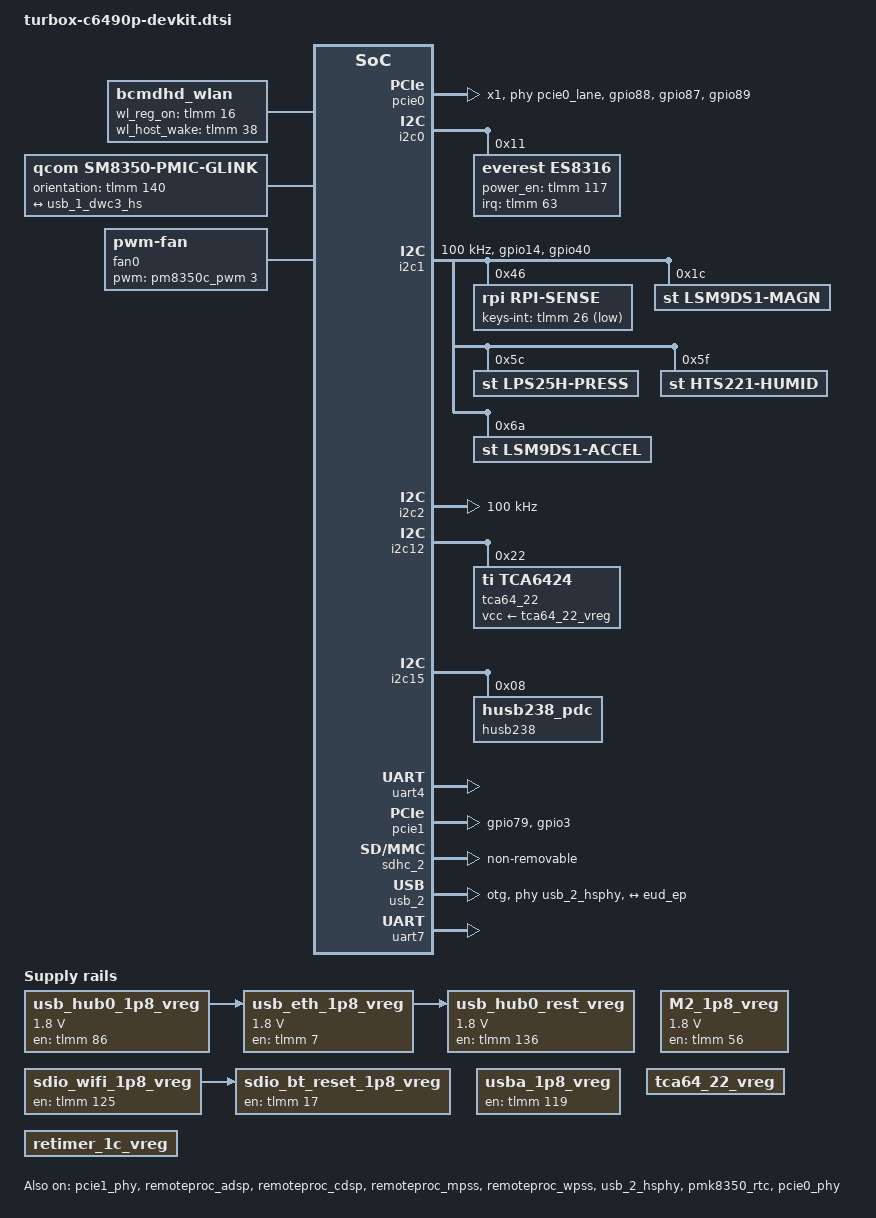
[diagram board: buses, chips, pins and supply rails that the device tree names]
#include "qcm6490-addons-idp.dts"

/ {
	chosen {
		display_bootargs = "";
		stdout-path = "serial0:115200n8";
	};

	aliases {
		serial1 = &uart4;
		serial2 = &uart7;
	};

	usb_hub0_1p8_vreg: usb_hub0_1p8_vreg {
		compatible = "regulator-fixed";
		regulator-name = "usb_hub0_1p8_vreg";
		gpio = <&tlmm 86 0>;
		regulator-min-microvolt = <1800000>;
		regulator-max-microvolt = <1800000>;
		enable-active-high;
		regulator-always-on;
		regulator-enable-ramp-delay = <50000>;
	};

	usb_eth_1p8_vreg: usb_eth_1p8_vreg {
		compatible = "regulator-fixed";
		regulator-name = "usb_eth_1p8_vreg";
		gpio = <&tlmm 7 0>;
		vin-supply = <&usb_hub0_1p8_vreg>;
		regulator-min-microvolt = <1800000>;
		regulator-max-microvolt = <1800000>;
		enable-active-high;
		regulator-enable-ramp-delay = <50000>;
	};

	usb_hub0_rest_vreg: usb_hub0_rest_vreg {
		compatible = "regulator-fixed";
		regulator-name = "usb_hub0_rest_vreg";
		gpio = <&tlmm 136 0>;
		vin-supply = <&usb_eth_1p8_vreg>;
		regulator-min-microvolt = <1800000>;
		regulator-max-microvolt = <1800000>;
		enable-active-high;
		regulator-always-on;
		regulator-enable-ramp-delay = <50000>;
	};

	M2_1p8_vreg: M2_1p8_vreg {
		compatible = "regulator-fixed";
		regulator-name = "M2_1p8_vreg";
		gpio = <&tlmm 56 0>;
		regulator-min-microvolt = <1800000>;
		regulator-max-microvolt = <1800000>;
		enable-active-high;
		regulator-enable-ramp-delay = <50000>;
	};

	sdio_wifi_1p8_vreg: sdio_wifi_1p8_vreg {
		compatible = "regulator-fixed";
		regulator-name = "sdio_wifi_1p8_vreg";
		enable-active-high;
		gpio = <&tlmm 125 GPIO_ACTIVE_HIGH>;
		regulator-enable-ramp-delay = <50000>;
	};

	sdio_bt_reset_1p8_vreg: sdio_bt_reset_1p8_vreg {
		pinctrl-0 = <&wifi_reset_active>;
		pinctrl-names = "default";
		compatible = "regulator-fixed";
		regulator-name = "sdio_bt_reset_1p8_vreg";
		enable-active-high;
		gpio = <&tlmm 17 GPIO_ACTIVE_HIGH>;
		vin-supply = <&sdio_wifi_1p8_vreg>;
	};

	usba_1p8_vreg: usba_1p8_vreg {
		compatible = "regulator-fixed";
		regulator-name = "usba_1p8_vreg";
		enable-active-high;
		gpio = <&tlmm 119 GPIO_ACTIVE_HIGH>;
		regulator-enable-ramp-delay = <10000>;
	};

	bcmdhd_wlan: bcmdhd_wlan {
		compatible = "linux,bcmdhd_wlan";
		gpio_wl_reg_on = <&tlmm 16 GPIO_ACTIVE_HIGH>;
		gpio_wl_host_wake = <&tlmm 38 GPIO_ACTIVE_HIGH>;
	};

	pmic-glink {
		compatible = "qcom,sm8350-pmic-glink", "qcom,pmic-glink";
		#address-cells = <1>;
		#size-cells = <0>;
		orientation-gpios = <&tlmm 140 GPIO_ACTIVE_HIGH>;
		qcom,thermal-mitigation = <3000000 1500000 1000000 500000>;

		connector@0 {
			compatible = "usb-c-connector";
			reg = <0>;
			power-role = "dual";
			data-role = "dual";

			ports {
				#address-cells = <1>;
				#size-cells = <0>;

				port@0 {
					reg = <0>;
					pmic_glink_hs_in: endpoint {
						remote-endpoint = <&usb_1_dwc3_hs>;
					};
				};

				/delete-node/ port@2;
			};
		};
	};

	soc: soc@0 {
		gcc: clock-controller@100000 {
			clocks = <&rpmhcc RPMH_CXO_CLK>,
				 <&rpmhcc RPMH_CXO_CLK_A>, <&sleep_clk>,
				 <0>, <&pcie0_lane>, <&pcie1_lane>,
				 <0>, <0>, <0>,
				 <&usb_1_ssphy>;
			clock-names = "bi_tcxo", "bi_tcxo_ao", "sleep_clk",
				      "pcie_0_pipe_clk", "pcie_1_pipe_clk",
				      "ufs_phy_rx_symbol_0_clk", "ufs_phy_rx_symbol_1_clk",
				      "ufs_phy_tx_symbol_0_clk",
				      "usb3_phy_wrapper_gcc_usb30_pipe_clk";
		};

		pcie0: pci@1c00000 {
			compatible = "qcom,pcie-sc7280";
			reg = <0 0x01c00000 0 0x3000>,
				  <0 0x60000000 0 0xf1d>,
				  <0 0x60000f20 0 0xa8>,
				  <0 0x60001000 0 0x1000>,
				  <0 0x60100000 0 0x100000>;
			reg-names = "parf", "dbi", "elbi", "atu", "config";
			device_type = "pci";
			cell-index = <0>;
			linux,pci-domain = <0>;
			bus-range = <0x80 0xff>;
			num-lanes = <1>;
			#address-cells = <3>;
			#size-cells = <2>;
			ranges = <0x01000000 0x0 0x00000000 0x0 0x60200000 0x0 0x100000>,
				   <0x02000000 0x0 0x60300000 0x0 0x60300000 0x0 0x3d00000>;
			interrupts = <GIC_SPI 141 IRQ_TYPE_LEVEL_HIGH>;
			interrupt-names = "msi";
			#interrupt-cells = <1>;
			interrupt-map-mask = <0 0 0 0x7>;
			interrupt-map = <0 0 0 1 &intc 0 0 0 149 IRQ_TYPE_LEVEL_HIGH>,
				<0 0 0 2 &intc 0 0 0 150 IRQ_TYPE_LEVEL_HIGH>,
				<0 0 0 3 &intc 0 0 0 151 IRQ_TYPE_LEVEL_HIGH>,
				<0 0 0 4 &intc 0 0 0 152 IRQ_TYPE_LEVEL_HIGH>;
			clocks = <&gcc GCC_PCIE_0_PIPE_CLK>,
				   <&gcc GCC_PCIE_0_PIPE_CLK_SRC>,
				   <&pcie0_lane>,
				   <&rpmhcc RPMH_CXO_CLK>,
				   <&gcc GCC_PCIE_0_AUX_CLK>,
				   <&gcc GCC_PCIE_0_CFG_AHB_CLK>,
				   <&gcc GCC_PCIE_0_MSTR_AXI_CLK>,
				   <&gcc GCC_PCIE_0_SLV_AXI_CLK>,
				   <&gcc GCC_PCIE_0_SLV_Q2A_AXI_CLK>,
				   <&gcc GCC_AGGRE_NOC_PCIE_TBU_CLK>,
				   <&gcc GCC_DDRSS_PCIE_SF_CLK>,
				   <&gcc GCC_AGGRE_NOC_PCIE_CENTER_SF_AXI_CLK>,
				   <&gcc GCC_AGGRE_NOC_PCIE_0_AXI_CLK>;
			clock-names = "pipe",
				"pipe_mux",
				"phy_pipe",
				"ref",
				"aux",
				"cfg",
				"bus_master",
				"bus_slave",
				"slave_q2a",
				"tbu",
				"ddrss_sf_tbu",
				"aggre0",
				"aggre1";
			assigned-clocks = <&gcc GCC_PCIE_0_AUX_CLK>;
			assigned-clock-rates = <19200000>;
			resets = <&gcc GCC_PCIE_0_BCR>;
			reset-names = "pci";
			power-domains = <&gcc GCC_PCIE_0_GDSC>;
			phys = <&pcie0_lane>;
			phy-names = "pciephy";
			dma-coherent;
			iommu-map = <0x8000 &apps_smmu 0x1c00 0x1>,
				<0x8100 &apps_smmu 0x1c01 0x1>;
			status = "disabled";
		};

		pcie0_phy: phy@1c06000 {
			compatible = "qcom,sm8250-qmp-gen3x1-pcie-phy";
			reg = <0 0x01c06000 0 0x1c0>;
			#address-cells = <2>;
			#size-cells = <2>;
			ranges;
			clocks = <&gcc GCC_PCIE_0_AUX_CLK>,
				   <&gcc GCC_PCIE_0_CFG_AHB_CLK>,
				   <&gcc GCC_PCIE_CLKREF_EN>,
				   <&gcc GCC_PCIE0_PHY_RCHNG_CLK>;
			clock-names = "aux", "cfg_ahb", "ref", "refgen";
			resets = <&gcc GCC_PCIE_0_PHY_BCR>;
			reset-names = "phy";
			assigned-clocks = <&gcc GCC_PCIE0_PHY_RCHNG_CLK>;
			assigned-clock-rates = <100000000>;
			status = "disabled";
			pcie0_lane: phy@1c0e200 {
				reg = <0 0x01c06200 0 0x200>, /* tx */
					  <0 0x01c06400 0 0x200>, /* rx */
					  <0 0x01c06800 0 0x200>, /* pcs */
					  <0 0x01c06c00 0 0x200>; /* pcs_pcie */
				clocks = <&gcc GCC_PCIE_0_PIPE_CLK>;
				clock-names = "pipe0";
				#phy-cells = <0>;
				#clock-cells = <0>;
				clock-output-names = "pcie_0_pipe_clk";
			};
		};
	};

	fan0: pwm-fan {
		compatible = "pwm-fan";
		pwms = <&pm8350c_pwm 3 1000000>;
		pinctrl-names = "default";
		pinctrl-0 = <&fan_pwm_out_default>;
		#cooling-cells = <2>;
		cooling-min-state = <0>;
		cooling-max-state = <2>;
		cooling-levels = <0 100 255>;
	};
};

&tlmm {
	/delete-property/ gpio-reserved-ranges;

	pcie0_reset_n: pcie0-reset-n-state {
		pins = "gpio87";
		function = "gpio";
		drive-strength = <16>;
		output-low;
		bias-disable;
	};

	pcie0_wake_n: pcie0-wake-n-state {
		pins = "gpio89";
		function = "gpio";
		drive-strength = <2>;
		bias-pull-up;
	};

	pcie0_clkreq_n: pcie0-clkreq-n-state {
		pins = "gpio88";
		function = "pcie0_clkreqn";
		bias-pull-up;
		drive-strength = <2>;
	};

	pcie1_wake_n: pcie1-wake-n-state {
		pins = "gpio3";
		function = "gpio";
		drive-strength = <2>;
		bias-pull-up;
	};

	pcie1_clkreq_n: pcie1-clkreq-n-state {
		pins = "gpio79";
		function = "pcie1_clkreqn";
		drive-strength = <2>;
		bias-pull-up;
	};

	pcie1_reset_n: pcie1-reset-n-state {
		pins = "gpio2";
		function = "gpio";
		drive-strength = <16>;
		output-high;
		bias-disable;
	};

	mi2s2_data0: mi2s2-data0-state {
		pins = "gpio102";
		function = "mi2s2_data0";
	};

	mi2s2_data1: mi2s2-data1-state {
		pins = "gpio104";
		function = "mi2s2_data1";
	};

	mi2s2_sclk: mi2s2-sclk-state {
		pins = "gpio101";
		function = "mi2s2_sck";
	};

	mi2s2_ws: mi2s2-ws-state {
		pins = "gpio103";
		function = "mi2s2_ws";
	};

	mi2s2_data0_sleep: mi2s2-data0-sleep {
		pins = "gpio102";
		function = "gpio";
		drive-strength = <2>;
		bias-pull-down;
		input-enable;
	};

	mi2s2_data1_sleep: mi2s2-data1-sleep {
		pins = "gpio104";
		function = "gpio";
		drive-strength = <2>;
		bias-pull-down;
		input-enable;
	};

	mi2s2_sclk_sleep: mi2s2-sclk-sleep {
		pins = "gpio101";
		function = "gpio";
		drive-strength = <2>;
		bias-pull-down;
		input-enable;
	};

	mi2s2_ws_sleep: mi2s2-ws-sleep {
		pins = "gpio103";
		function = "gpio";
		drive-strength = <2>;
		bias-pull-down;
		input-enable;
	};

	mi2s1_data0_sleep: mi2s1-data0-sleep {
		pins = "gpio107";
		function = "gpio";
		drive-strength = <2>;
		bias-pull-down;
		input-enable;
	};

	mi2s1_data1_sleep: mi2s1-data1-sleep {
		pins = "gpio105";
		function = "gpio";
		drive-strength = <2>;
		bias-pull-down;
		input-enable;
	};

	mi2s1_sclk_sleep: mi2s1-sclk-sleep {
		pins = "gpio106";
		function = "gpio";
		drive-strength = <2>;
		bias-pull-down;
		input-enable;
	};

	mi2s1_ws_sleep: mi2s1-ws-sleep {
		pins = "gpio108";
		function = "gpio";
		drive-strength = <2>;
		bias-pull-down;
		input-enable;
	};

	mi2s1_data0: mi2s1-data0-state {
		pins = "gpio107";
		function = "mi2s1_data0";
	};

	mi2s1_data1: mi2s1-data1-state {
		pins = "gpio105";
		function = "mi2s1_data1";
	};

	mi2s1_sclk: mi2s1-sclk-state {
		pins = "gpio106";
		function = "mi2s1_sck";
	};

	mi2s1_ws: mi2s1-ws-state {
		pins = "gpio108";
		function = "mi2s1_ws";
	};

	wifi_reset_active: wifi_reset_active {
		pins = "gpio16";
		function = "gpio";
		drive-strength = <2>;
		output-high;
		bias-disable;
	};

	io_level_selection_3v3: io_level_selection_3v3 {
		pins = "gpio14";
		function = "gpio";
		drive-strength = <2>;
		output-high;
		bias-disable;
	};

	io_level_selection_5v0: io_level_selection_5v0 {
		pins = "gpio40";
		function = "gpio";
		drive-strength = <2>;
		output-high;
		bias-disable;
	};
};

&lpass_dmic01_clk {
	status = "disabled";
};

&lpass_dmic01_data {
	status = "disabled";
};

&lpass_dmic23_clk {
	status = "disabled";
};

&lpass_dmic23_data {
	status = "disabled";
};

&lpass_tlmm {
	/delete-node/ dmic45-data-state;
	/delete-node/ dmic45-clk-state;

	lpass_ext_mas_clk1_a: ext-master-clk1-a-state {
		pins = "gpio13";
		function = "ext_mas_clk1_a";
	};

	lpass_ext_mas_clk1_a_sleep: ext-master-clk1-a-sleep {
		pins = "gpio13";
		function = "ext_mas_clk1_a";
		drive-strength = <2>;
		bias-pull-down;
		input-enable;
	};

	lpass_qua_mi2s_sclk: qua-mi2s-sclk-state {
		pins = "gpio0";
		function = "qua_mi2s_sclk";
	};

	lpass_qua_mi2s_sclk_sleep: qua-mi2s-sclk-sleep {
		pins = "gpio0";
		function = "qua_mi2s_sclk";
		drive-strength = <2>;
		bias-pull-down;
		input-enable;
	};

	lpass_qua_mi2s_ws: qua-mi2s-ws-state {
		pins = "gpio1";
		function = "qua_mi2s_ws";
	};

	lpass_qua_mi2s_ws_sleep: qua-mi2s-ws-sleep {
		pins = "gpio1";
		function = "qua_mi2s_ws";
		drive-strength = <2>;
		bias-pull-down;
		input-enable;
	};

	lpass_qua_mi2s_data0: qua-mi2s-data0-state {
		pins = "gpio2";
		function = "qua_mi2s_data";
	};

	lpass_qua_mi2s_data0_sleep: qua-mi2s-data0-sleep {
		pins = "gpio2";
		function = "qua_mi2s_data";
		drive-strength = <2>;
		bias-pull-down;
		input-enable;
	};

	lpass_qua_mi2s_data1: qua-mi2s-data1-state {
		pins = "gpio3";
		function = "qua_mi2s_data";
	};

	lpass_qua_mi2s_data1_sleep: qua-mi2s-data1-sleep {
		pins = "gpio3";
		function = "qua_mi2s_data";
		drive-strength = <2>;
		bias-pull-down;
		input-enable;
	};

	lpass_qua_mi2s_data2: qua-mi2s-data2-state {
		pins = "gpio4";
		function = "qua_mi2s_data";
	};

	lpass_qua_mi2s_data2_sleep: qua-mi2s-data2-sleep {
		pins = "gpio4";
		function = "qua_mi2s_data";
		drive-strength = <2>;
		bias-pull-down;
		input-enable;
	};

	lpass_qua_mi2s_data3: qua-mi2s-data3-state {
		pins = "gpio5";
		function = "qua_mi2s_data";
	};

	lpass_qua_mi2s_data3_sleep: qua-mi2s-data3-sleep {
		pins = "gpio5";
		function = "qua_mi2s_data";
		drive-strength = <2>;
		bias-pull-down;
		input-enable;
	};

	lpass_lpi_i2s1_clk: lpi-i2s1-clk-state {
		pins = "gpio6";
		function = "i2s1_clk";
	};

	lpass_lpi_i2s1_ws: lpi-i2s1-ws-state {
		pins = "gpio7";
		function = "i2s1_ws";
	};

	lpass_lpi_i2s1_data0: lpi-i2s1-data0-state {
		pins = "gpio8";
		function = "i2s1_data";
	};

	lpass_lpi_i2s1_data1: lpi-i2s1-data1-state {
		pins = "gpio9";
		function = "i2s1_data";
	};

	lpass_lpi_i2s1_clk_sleep: lpi-i2s1-clk-sleep {
		pins = "gpio6";
		function = "i2s1_clk";
		drive-strength = <2>;
		bias-pull-down;
		input-enable;
	};

	lpass_lpi_i2s1_ws_sleep: lpi-i2s1-ws-sleep {
		pins = "gpio7";
		function = "i2s1_ws";
		drive-strength = <2>;
		bias-pull-down;
		input-enable;
	};

	lpass_lpi_i2s1_data0_sleep: lpi-i2s1-data0-sleep {
		pins = "gpio8";
		function = "i2s1_data";
		drive-strength = <2>;
		bias-pull-down;
		input-enable;
	};

	lpass_lpi_i2s1_data1_sleep: lpi-i2s1-data1-sleep {
		pins = "gpio9";
		function = "i2s1_data";
		drive-strength = <2>;
		bias-pull-down;
		input-enable;
	};
};

&soc {
	tca64_22_vreg: tca64_22_regulator {
		compatible = "regulator-fixed";
		regulator-name = "tca64_22_vreg";
		startup-delay-us = <1000>;
		enable-active-high;
	};

	retimer_1c_vreg: retimer_1c_regulator {
		compatible = "regulator-fixed";
		regulator-name = "retimer_1c_vreg";
		startup-delay-us = <1000>;
		enable-active-high;
	};
};

&gcc {
	protected-clocks = <GCC_QSPI_CNOC_PERIPH_AHB_CLK>, <GCC_QSPI_CORE_CLK>,
			<GCC_QSPI_CORE_CLK_SRC>, <GCC_CFG_NOC_LPASS_CLK>,
			<GCC_MSS_GPLL0_MAIN_DIV_CLK_SRC>, <GCC_MSS_CFG_AHB_CLK>,
			<GCC_MSS_OFFLINE_AXI_CLK>, <GCC_MSS_SNOC_AXI_CLK>,
			<GCC_MSS_Q6_MEMNOC_AXI_CLK>, <GCC_MSS_Q6SS_BOOT_CLK_SRC>,
			<GCC_SEC_CTRL_CLK_SRC>, <GCC_WPSS_AHB_CLK>,
			<GCC_WPSS_AHB_BDG_MST_CLK>, <GCC_WPSS_RSCP_CLK>;
};

&i2c0 {
	status = "ok";
	es8316: es8316@11 {
		compatible = "everest,es8316";
		reg = <0x11>;
		clocks = <&lpass_aon LPASS_AON_CC_TX_MCLK_CLK>;
        clock-names = "mclk";
		#sound-dai-cells = <0>;
		power_en-gpio = <&tlmm 117 0>;
		irq-gpio = <&tlmm 63 0>;
		status = "ok";
    };
};

&i2c1 {
	clock-frequency = <100000>;
	status = "okay";
	pinctrl-names = "default";
	pinctrl-0 = <&qup_i2c1_data_clk>, <&io_level_selection_3v3>, <&io_level_selection_5v0>;

	/delete-node/ typec-mux@42;

	rpi-sense@46 {
		compatible = "rpi,rpi-sense";
		reg = <0x46>;
		keys-int-gpios = <&tlmm 26 1>;
		status = "okay";
	};

	lsm9ds1-magn@1c {
		compatible = "st,lsm9ds1-magn";
		reg = <0x1c>;
		status = "okay";
	};

	lps25h-press@5c {
		compatible = "st,lps25h-press";
		reg = <0x5c>;
		status = "okay";
	};

	hts221-humid@5f {
		compatible = "st,hts221-humid", "st,hts221";
		reg = <0x5f>;
		status = "okay";
	};

	lsm9ds1-accel@6a {
		compatible = "st,lsm9ds1-accel";
		reg = <0x6a>;
		status = "okay";
	};


	typec-mux@42 {
		status = "disabled";
	};

	pm8008i@8 {
		status = "disabled";
	};

	pm8008i@9 {
		status = "disabled";
	};

	pm8008j@c {
		status = "disabled";
	};

	pm8008j@d {
		status = "disabled";
	};
};

&i2c2 {
	clock-frequency = <100000>;
	status = "okay";
};

&i2c12 {
	status = "ok";
	tca64_22: tca6424@22 {
		compatible = "ti,tca6424";
		reg = <0x22>;
		vcc-supply = <&tca64_22_vreg>;
		gpio-controller;
		#gpio-cells = <2>;
	};
};

&i2c15 {
	status = "ok";
	husb238@8 {
		status = "ok";
		compatible = "husb238_pdc";
		reg = <0x08>;
	};
};

&uart4 {
	status = "okay";
	pinctrl-0 = <&qup_uart4_tx>, <&qup_uart4_rx>;
};

&uart14 {
	status = "disabled";
};

&apps_rsc {
	regulators-0 {
		vreg_l2b_3p072: ldo2 {
			regulator-min-microvolt = <3100000>;
			regulator-max-microvolt = <3544000>;
			regulator-initial-mode = <RPMH_REGULATOR_MODE_HPM>;
		};

		vreg_l6b_1p2: ldo6 {
			regulator-min-microvolt = <1140000>;
			regulator-max-microvolt = <1260000>;
			regulator-initial-mode = <RPMH_REGULATOR_MODE_HPM>;
		};
	};

	regulators-1 {
		vreg_l1c_1p8: ldo1 {
			regulator-min-microvolt = <1800000>;
			regulator-max-microvolt = <1980000>;
			regulator-initial-mode = <RPMH_REGULATOR_MODE_HPM>;
		};

		vreg_l10c_0p88:ldo10 {
			regulator-min-microvolt = <880000>;
			regulator-max-microvolt = <1050000>;
			regulator-initial-mode = <RPMH_REGULATOR_MODE_HPM>;
		};

		vreg_l9c_2p96: ldo9 {
			regulator-min-microvolt = <2700000>;
			regulator-max-microvolt = <3544000>;
			regulator-initial-mode = <RPMH_REGULATOR_MODE_HPM>;
		};

		vreg_l6c_2p96: ldo6 {
			regulator-min-microvolt = <1800000>;
			regulator-max-microvolt = <1800000>;
			regulator-initial-mode = <RPMH_REGULATOR_MODE_HPM>;
			regulator-boot-on;
			regulator-enable-ramp-delay = <10000>;
		};
	};
};

&bluetooth {
	status = "disabled";
};

&pcie0_phy {
	status = "okay";
	qcom,refclk-always-on;
	vdda-phy-supply = <&vreg_l10c_0p88>;
	vdda-pll-supply = <&vreg_l6b_1p2>;
};

&pcie0 {
	status = "okay";
	perst-gpios = <&tlmm 87 GPIO_ACTIVE_LOW>;
	vdda-supply = <&usb_hub0_rest_vreg>;
	pinctrl-names = "default";
	pinctrl-0 = <&pcie0_clkreq_n>, <&pcie0_reset_n>, <&pcie0_wake_n>;
	pcieport0: pcie@0 {
		pcie0_bus1_dev0_fn0: pcie0_bus1_dev0_fn0 {
			reg = <0 0 0 0 0>;
		};
	};
};

&pcie1 {
	status = "okay";
	perst-gpios = <&tlmm 2 GPIO_ACTIVE_LOW>;
	vdda-supply = <&M2_1p8_vreg>;
	pinctrl-names = "default";
	pinctrl-0 = <&pcie1_clkreq_n>, <&pcie1_wake_n>;
	pcieport1: pcie@1 {
		device_type = "pci";
		reg = <0x0 0x0 0x0 0x0 0x0>;
		#address-cells = <5>;
		#size-cells = <0>;
		pcie1_bus1_dev0_fn0: pcie1_bus1_dev0_fn0 {
			reg = <0 0 0 0 0>;
		};
	};
};

&pcie1_phy {
	status = "okay";
	vdda-phy-supply = <&vreg_l10c_0p88>;
	vdda-pll-supply = <&vreg_l6b_1p2>;
	qcom,refclk-always-on;
};

&lpass_va_macro {
	pinctrl-0 = <&lpass_dmic01_clk>, <&lpass_dmic01_data>,
		    <&lpass_dmic23_clk>, <&lpass_dmic23_data>;
};

&lpass_rx_macro {
	status = "disabled";
};

&lpass_tx_macro {
	status = "disabled";
};

&lpass_wsa_macro {
	status = "disabled";
};

&lpass_va_macro {
	status = "disabled";
};

&swr2 {
	status = "disabled";
};

&wcd9370 {
	status = "disabled";
};

&swr0 {
	status = "disabled";
};

&swr1 {
	status = "disabled";
};

&remoteproc_adsp {
	firmware-name = "qcom/qcs6490/adsp.mdt";
	status = "okay";
};

&remoteproc_cdsp {
	firmware-name = "qcom/qcs6490/cdsp.mdt";
	status = "okay";
};

&remoteproc_mpss {
	firmware-name = "qcom/qcs6490/modem.mdt";
	status = "okay";
};

&remoteproc_wpss {
	firmware-name = "qcom/qcs6490/wpss.mdt";
	status = "okay";
};

&sound {
	pinctrl-names = "default", "stub_aif1_active", "stub_aif1_sleep";
	pinctrl-0 = <&mi2s0_data0_sleep>, <&mi2s0_data1_sleep>, <&mi2s0_mclk>,
	            <&mi2s0_sclk_sleep>, <&mi2s0_ws_sleep>,
	            <&lpass_ext_mas_clk1_a_sleep>, <&lpass_qua_mi2s_sclk_sleep>,
	            <&lpass_qua_mi2s_ws_sleep>, <&lpass_qua_mi2s_data0_sleep>,
	            <&lpass_qua_mi2s_data1_sleep>, <&lpass_qua_mi2s_data2_sleep>,
	            <&lpass_qua_mi2s_data3_sleep>, <&lpass_lpi_i2s1_clk_sleep>,
	            <&lpass_lpi_i2s1_ws_sleep>, <&lpass_lpi_i2s1_data0_sleep>,
	            <&lpass_lpi_i2s1_data1_sleep>, <&mi2s2_sclk_sleep>,
	            <&mi2s2_ws_sleep>, <&mi2s2_data0_sleep>, <&mi2s2_data1_sleep>;
	pinctrl-1 = <&mi2s0_data0>, <&mi2s0_data1>, <&mi2s0_mclk>,
	            <&mi2s0_sclk>, <&mi2s0_ws>,
	            <&lpass_ext_mas_clk1_a>, <&lpass_qua_mi2s_sclk>,
	            <&lpass_qua_mi2s_ws>, <&lpass_qua_mi2s_data0>,
	            <&lpass_qua_mi2s_data1>, <&lpass_qua_mi2s_data2>,
	            <&lpass_qua_mi2s_data3>, <&lpass_lpi_i2s1_clk>,
	            <&lpass_lpi_i2s1_ws>, <&lpass_lpi_i2s1_data0>,
	            <&lpass_lpi_i2s1_data1>, <&mi2s2_sclk>,
	            <&mi2s2_ws>, <&mi2s2_data0>, <&mi2s2_data1>;
	pinctrl-2 = <&mi2s0_data0_sleep>, <&mi2s0_data1_sleep>, <&mi2s0_mclk>,
	            <&mi2s0_sclk_sleep>, <&mi2s0_ws_sleep>,
	            <&lpass_ext_mas_clk1_a_sleep>, <&lpass_qua_mi2s_sclk_sleep>,
	            <&lpass_qua_mi2s_ws_sleep>, <&lpass_qua_mi2s_data0_sleep>,
	            <&lpass_qua_mi2s_data1_sleep>, <&lpass_qua_mi2s_data2_sleep>,
	            <&lpass_qua_mi2s_data3_sleep>, <&lpass_lpi_i2s1_clk_sleep>,
	            <&lpass_lpi_i2s1_ws_sleep>, <&lpass_lpi_i2s1_data0_sleep>,
	            <&lpass_lpi_i2s1_data1_sleep>, <&mi2s2_sclk_sleep>,
	            <&mi2s2_ws_sleep>, <&mi2s2_data0_sleep>, <&mi2s2_data1_sleep>;

	// audio-routing =
	// 	"VA DMIC0", "vdd-micb",
	// 	"VA DMIC1", "vdd-micb",
	// 	"VA DMIC2", "vdd-micb",
	// 	"VA DMIC3", "vdd-micb";

	/delete-node/ mi2s-playback-dai-link;
	/delete-node/ mi2s-capture-dai-link;
	/delete-node/ va-dai-link;

	mi2s-playback-dai-link {
		link-name = "MI2S-LPAIF-RX-PRIMARY";
		cpu {
			sound-dai = <&q6apmbedai PRIMARY_MI2S_RX>;
		};
		codec {
			sound-dai = <&msm_stub_codec 0>, <&es8316>;
		};
	};

	mi2s-capture-dai-link {
		link-name = "MI2S-LPAIF-TX-PRIMARY";
		cpu {
			sound-dai = <&q6apmbedai PRIMARY_MI2S_TX>;
		};
		codec {
			sound-dai = <&msm_stub_codec 1>, <&es8316>;
		};
	};

	quaternary-mi2s-playback-dai-link {
		link-name = "MI2S-LPAIF_RXTX-RX-PRIMARY";
		cpu {
			sound-dai = <&q6apmbedai QUATERNARY_MI2S_RX>;
		};
		codec {
			sound-dai = <&msm_stub_codec 0>;
		};
	};

	quaternary-mi2s-capture-dai-link {
		link-name = "MI2S-LPAIF_RXTX-TX-PRIMARY";
		cpu {
			sound-dai = <&q6apmbedai QUATERNARY_MI2S_TX>;
		};
		codec {
			sound-dai = <&msm_stub_codec 1>;
		};
	};

	quin-mi2s-playback-dai-link {
		link-name = "MI2S-LPAIF_VA-RX-PRIMARY";
		cpu {
			sound-dai = <&q6apmbedai QUINARY_MI2S_RX>;
		};
		codec {
			sound-dai = <&msm_stub_codec 0>;
		};
	};

	quin-mi2s-capture-dai-link {
		link-name = "MI2S-LPAIF_VA-TX-PRIMARY";
		cpu {
			sound-dai = <&q6apmbedai QUINARY_MI2S_TX>;
		};
		codec {
			sound-dai = <&msm_stub_codec 1>;
		};
	};

	tert-mi2s-playback-dai-link {
		link-name = "MI2S-LPAIF_AUD-RX-SECONDARY";
		cpu {
			sound-dai = <&q6apmbedai TERTIARY_MI2S_RX>;
		};
		codec {
			sound-dai = <&msm_stub_codec 0>;
		};
	};

	tert-mi2s-capture-dai-link {
		link-name = "MI2S-LPAIF_AUD-TX-SECONDARY";
		cpu {
			sound-dai = <&q6apmbedai TERTIARY_MI2S_TX>;
		};
		codec {
			sound-dai = <&msm_stub_codec 1>;
		};
	};

	/delete-node/ wsa-dai-link;
	/delete-node/ vi-feedback-dai-link;
	/delete-node/ wcd-playback-dai-link;
	/delete-node/ wcd-capture-dai-link;
};

&usb_1 {
	snps,dis-u2-entry-quirk;
	snps,dis-u1-entry-quirk;
};


&sdc2_clk {
	bias-disable;
	drive-strength = <16>;
};

&sdc2_cmd {
	bias-pull-up;
	drive-strength = <10>;
};

&sdc2_data {
	bias-pull-up;
	drive-strength = <10>;
};

&qup_uart7_rx {
	/delete-property/ bias-pull-up;
	bias-pull-down;
	output-low;
};

&sdhc_2 {
	status = "okay";

	pinctrl-0 = <&sdc2_clk>, <&sdc2_cmd>, <&sdc2_data>;
	pinctrl-1 = <&sdc2_clk_sleep>, <&sdc2_cmd_sleep>, <&sdc2_data_sleep>;
	vdda-supply = <&sdio_bt_reset_1p8_vreg>;

	non-removable;

	/delete-property/ cd-gpios;
};

/delete-node/ &usb_2_dwc3;

&usb_2 {
	reg = <0x0 0x08c00000 0x0 0x100000>;

	interrupts-extended = <&intc GIC_SPI 242 IRQ_TYPE_LEVEL_HIGH>,
				<&intc GIC_SPI 240 IRQ_TYPE_LEVEL_HIGH>,
				<&pdc 12 IRQ_TYPE_LEVEL_HIGH>,
				<&pdc 13 IRQ_TYPE_EDGE_BOTH>;
	interrupt-names = "dwc_usb2",
			"hs_phy_irq",
			"dp_hs_phy_irq",
			"dm_hs_phy_irq";

	iommus = <&apps_smmu 0xa0 0x0>;
	snps,dis_u2_susphy_quirk;
	snps,dis_enblslpm_quirk;
	phys = <&usb_2_hsphy>;
	phy-names = "usb2-phy";
	maximum-speed = "high-speed";
	snps,dis-u2-entry-quirk;
	snps,dis-u1-entry-quirk;

	usb-role-switch;
	qcom,enable-rt;
	wakeup-source;
	dr_mode = "otg";
	role-switch-default-mode = "host";

	vdda-supply = <&usba_1p8_vreg>;

	status = "okay";

	ports {
		#address-cells = <1>;
		#size-cells = <0>;

		port@0 {
			usb2_role_switch: endpoint {
				remote-endpoint = <&eud_ep>;
			};
		};
	};
};

&usb_2_hsphy {
	vdda-pll-supply = <&vreg_l10c_0p88>;
	vdda18-supply = <&vreg_l1c_1p8>;
	vdda33-supply = <&vreg_l2b_3p072>;

	status = "okay";
};

&uart7 {
	status = "okay";
	/delete-property/interrupts;
	interrupts-extended = <&intc GIC_SPI 608 IRQ_TYPE_LEVEL_HIGH>,
				<&tlmm 31 IRQ_TYPE_EDGE_FALLING>;
	pinctrl-names = "default", "sleep";
	pinctrl-1 = <&qup_uart7_sleep_cts>, <&qup_uart7_sleep_rts>,
			<&qup_uart7_sleep_tx>, <&qup_uart7_sleep_rx>;
};

&pm8350c_gpios {
	fan_pwm_out_default: fan_pwm_out_default {
		pins = "gpio8";
		function = "func1";
		power-source = <1>;
		drive-push-pull;
		output-high;
		qcom,drive-strength = <3>;
	};
};

&thermal_zones {
	cpu0-thermal {
		trips {
			cpu0_alert2: trip-point2 {
				temperature = <60000>;
				hysteresis = <2000>;
				type = "passive";
			};

			cpu0_alert3: trip-point3 {
				temperature = <80000>;
				hysteresis = <2000>;
				type = "passive";
			};
		};

		cooling-maps {
			map2 {
				trip = <&cpu0_alert2 255>;
				cooling-device = <&fan0 1 1>;
			};

			map3 {
				trip = <&cpu0_alert3 255>;
				cooling-device = <&fan0 2 2>;
			};
		};
	};

	cpu1-thermal {
		trips {
			cpu1_alert2: trip-point2 {
				temperature = <60000>;
				hysteresis = <2000>;
				type = "passive";
			};

			cpu1_alert3: trip-point3 {
				temperature = <80000>;
				hysteresis = <2000>;
				type = "passive";
			};
		};

		cooling-maps {
			map2 {
				trip = <&cpu1_alert2 255>;
				cooling-device = <&fan0 1 1>;
			};

			map3 {
				trip = <&cpu1_alert3 255>;
				cooling-device = <&fan0 2 2>;
			};
		};
	};

	cpu2-thermal {
		trips {
			cpu2_alert2: trip-point2 {
				temperature = <60000>;
				hysteresis = <2000>;
				type = "passive";
			};

			cpu2_alert3: trip-point3 {
				temperature = <80000>;
				hysteresis = <2000>;
				type = "passive";
			};
		};

		cooling-maps {
			map2 {
				trip = <&cpu2_alert2 255>;
				cooling-device = <&fan0 1 1>;
			};

			map3 {
				trip = <&cpu2_alert3 255>;
				cooling-device = <&fan0 2 2>;
			};
		};
	};

	cpu3-thermal {
		trips {
			cpu3_alert2: trip-point2 {
				temperature = <60000>;
				hysteresis = <2000>;
				type = "passive";
			};

			cpu3_alert3: trip-point3 {
				temperature = <80000>;
				hysteresis = <2000>;
				type = "passive";
			};
		};

		cooling-maps {
			map2 {
				trip = <&cpu3_alert2 255>;
				cooling-device = <&fan0 1 1>;
			};

			map3 {
				trip = <&cpu3_alert3 255>;
				cooling-device = <&fan0 2 2>;
			};
		};
	};

	cpu4-thermal {
		trips {
			cpu4_alert2: trip-point2 {
				temperature = <60000>;
				hysteresis = <2000>;
				type = "passive";
			};

			cpu4_alert3: trip-point3 {
				temperature = <80000>;
				hysteresis = <2000>;
				type = "passive";
			};
		};

		cooling-maps {
			map2 {
				trip = <&cpu4_alert2 255>;
				cooling-device = <&fan0 1 1>;
			};

			map3 {
				trip = <&cpu4_alert3 255>;
				cooling-device = <&fan0 2 2>;
			};
		};
	};

	cpu5-thermal {
		trips {
			cpu5_alert2: trip-point2 {
				temperature = <60000>;
				hysteresis = <2000>;
				type = "passive";
			};

			cpu5_alert3: trip-point3 {
				temperature = <80000>;
				hysteresis = <2000>;
				type = "passive";
			};
		};

		cooling-maps {
			map2 {
				trip = <&cpu5_alert2 255>;
				cooling-device = <&fan0 1 1>;
			};

			map3 {
				trip = <&cpu5_alert3 255>;
				cooling-device = <&fan0 2 2>;
			};
		};
	};

	cpu6-thermal {
		trips {
			cpu6_alert2: trip-point2 {
				temperature = <60000>;
				hysteresis = <2000>;
				type = "passive";
			};

			cpu6_alert3: trip-point3 {
				temperature = <80000>;
				hysteresis = <2000>;
				type = "passive";
			};
		};

		cooling-maps {
			map2 {
				trip = <&cpu6_alert2 255>;
				cooling-device = <&fan0 1 1>;
			};

			map3 {
				trip = <&cpu6_alert3 255>;
				cooling-device = <&fan0 2 2>;
			};
		};
	};

	cpu7-thermal {
		trips {
			cpu7_alert2: trip-point2 {
				temperature = <60000>;
				hysteresis = <2000>;
				type = "passive";
			};

			cpu7_alert3: trip-point3 {
				temperature = <80000>;
				hysteresis = <2000>;
				type = "passive";
			};
		};

		cooling-maps {
			map2 {
				trip = <&cpu7_alert2 255>;
				cooling-device = <&fan0 1 1>;
			};

			map3 {
				trip = <&cpu7_alert3 255>;
				cooling-device = <&fan0 2 2>;
			};
		};
	};
};

&pmk8350_rtc {
	status = "okay";
	allow-set-time;
};

&tcsr {
	status = "disabled";
};

&pm7325b {
	status = "disabled";
};
